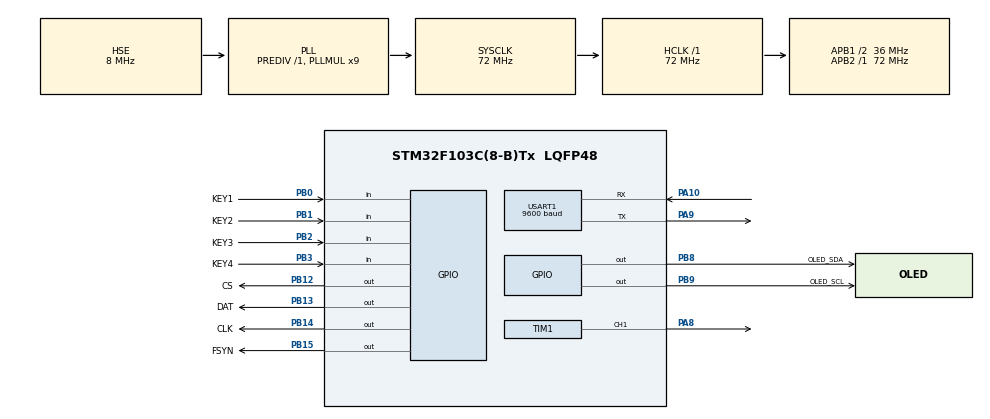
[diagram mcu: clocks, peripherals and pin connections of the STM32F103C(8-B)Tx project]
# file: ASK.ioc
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FREERTOS.Tasks01=usartTask,24,128,appusartTask,Default,NULL,Dynamic,NULL,NULL;keyTask,24,128,appkeyTask,Default,NULL,Dynamic,NULL,NULL;oledTask,24,128,appoledTask,Default,NULL,Dynamic,NULL,NULL
Mcu.Family=STM32F1
Mcu.Name=STM32F103C(8-B)Tx
Mcu.Package=LQFP48
NVIC.PriorityGroup=NVIC_PRIORITYGROUP_4
NVIC.TIM1_UP_IRQn=true\:5\:0\:false\:false\:true\:true\:true\:true\:true
NVIC.TIM4_IRQn=true\:0\:0\:true\:false\:true\:false\:true\:true\:true
NVIC.TimeBase=TIM4_IRQn
NVIC.TimeBaseIP=TIM4
PA10.GPIO_PuPd=GPIO_PULLDOWN
PA10.Mode=Asynchronous
PA10.Signal=USART1_RX
PA13.Mode=Serial_Wire
PA13.Signal=SYS_JTMS-SWDIO
PA14.Mode=Serial_Wire
PA14.Signal=SYS_JTCK-SWCLK
PA8.Signal=S_TIM1_CH1
PA9.Mode=Asynchronous
PA9.Signal=USART1_TX
PB0.GPIO_Label=KEY1
PB0.GPIO_PuPd=GPIO_PULLUP
PB0.Signal=GPIO_Input
PB1.GPIO_Label=KEY2
PB1.GPIO_PuPd=GPIO_PULLUP
PB1.Signal=GPIO_Input
PB12.GPIO_Label=CS
PB12.GPIO_PuPd=GPIO_PULLDOWN
PB12.GPIO_Speed=GPIO_SPEED_FREQ_HIGH
PB12.PinState=GPIO_PIN_RESET
PB12.Signal=GPIO_Output
PB13.GPIO_Label=DAT
PB13.GPIO_ModeDefaultOutputPP=GPIO_MODE_OUTPUT_PP
PB13.GPIO_PuPd=GPIO_PULLDOWN
PB13.GPIO_Speed=GPIO_SPEED_FREQ_HIGH
PB13.Signal=GPIO_Output
PB14.GPIO_Label=CLK
PB14.GPIO_PuPd=GPIO_PULLDOWN
PB14.GPIO_Speed=GPIO_SPEED_FREQ_HIGH
PB14.Signal=GPIO_Output
PB15.GPIO_Label=FSYN
PB15.GPIO_PuPd=GPIO_PULLDOWN
PB15.GPIO_Speed=GPIO_SPEED_FREQ_HIGH
PB15.Signal=GPIO_Output
PB2.GPIO_Label=KEY3
PB2.GPIO_PuPd=GPIO_PULLUP
PB2.Signal=GPIO_Input
PB3.GPIO_Label=KEY4
PB3.GPIO_PuPd=GPIO_PULLUP
PB3.Signal=GPIO_Input
PB8.GPIO_Label=OLED_SDA
PB8.GPIO_ModeDefaultOutputPP=GPIO_MODE_OUTPUT_OD
PB8.GPIO_PuPd=GPIO_PULLUP
PB8.GPIO_Speed=GPIO_SPEED_FREQ_HIGH
PB8.PinState=GPIO_PIN_RESET
PB8.Signal=GPIO_Output
PB9.GPIO_Label=OLED_SCL
PB9.GPIO_ModeDefaultOutputPP=GPIO_MODE_OUTPUT_OD
PB9.GPIO_PuPd=GPIO_PULLUP
PB9.GPIO_Speed=GPIO_SPEED_FREQ_HIGH
PB9.Signal=GPIO_Output
PD0-OSC_IN.Mode=HSE-External-Oscillator
PD0-OSC_IN.Signal=RCC_OSC_IN
PD1-OSC_OUT.Mode=HSE-External-Oscillator
PD1-OSC_OUT.Signal=RCC_OSC_OUT
ProjectManager.HeapSize=0x200
ProjectManager.StackSize=0x400
ProjectManager.TargetToolchain=MDK-ARM V5.32
RCC.AHBFreq_Value=72000000
RCC.APB1CLKDivider=RCC_HCLK_DIV2
RCC.APB1Freq_Value=36000000
RCC.APB1TimFreq_Value=72000000
RCC.APB2Freq_Value=72000000
RCC.APB2TimFreq_Value=72000000
RCC.HCLKFreq_Value=72000000
RCC.PLLMUL=RCC_PLL_MUL9
RCC.PLLSourceVirtual=RCC_PLLSOURCE_HSE
RCC.SYSCLKFreq_VALUE=72000000
RCC.SYSCLKSource=RCC_SYSCLKSOURCE_PLLCLK
RCC.USBFreq_Value=72000000
SH.S_TIM1_CH1.0=TIM1_CH1,PWM Generation1 CH1
TIM1.AutoReloadPreload=TIM_AUTORELOAD_PRELOAD_ENABLE
TIM1.Channel-PWM\ Generation1\ CH1=TIM_CHANNEL_1
TIM1.Period=1
TIM1.Prescaler=72-1
USART1.BaudRate=9600
USART1.VirtualMode=VM_ASYNC
VP_FREERTOS_VS_CMSIS_V2.Mode=CMSIS_V2
VP_SYS_VS_tim4.Mode=TIM4
VP_TIM1_VS_ClockSourceINT.Mode=Internal
board=custom

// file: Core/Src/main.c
/* USER CODE BEGIN Header */
/**
  ******************************************************************************
  * @file           : main.c
  * @brief          : Main program body
  ******************************************************************************
  * @attention
  *
  * Copyright (c) 2024 STMicroelectronics.
  * All rights reserved.
  *
  * This software is licensed under terms that can be found in the LICENSE file
  * in the root directory of this software component.
  * If no LICENSE file comes with this software, it is provided AS-IS.
  *
  ******************************************************************************
  */
/* USER CODE END Header */
#include "main.h"
#include "cmsis_os.h"
#include "tim.h"
#include "usart.h"
#include "gpio.h"

/* USER CODE BEGIN PTD */
char show_string[20];
/* USER CODE END PTD */

void SystemClock_Config(void);
void MX_FREERTOS_Init(void);

/* USER CODE BEGIN 0 */
void DWT_Init(void)
{
    CoreDebug->DEMCR |= CoreDebug_DEMCR_TRCENA_Msk; // 启用 DWT
    DWT->CYCCNT = 0;                                // 清零计数器
    DWT->CTRL |= DWT_CTRL_CYCCNTENA_Msk;            // 启用 CYCCNT
}

/* USER CODE END 0 */

int main(void)
{

  /* MCU Configuration--------------------------------------------------------*/

  /* Reset of all peripherals, Initializes the Flash interface and the Systick. */
  HAL_Init();

  /* Configure the system clock */
  SystemClock_Config();

  /* Initialize all configured peripherals */
  MX_GPIO_Init();
  MX_TIM1_Init();
  MX_USART1_UART_Init();
  /* USER CODE BEGIN 2 */
	DWT_Init();

	LFSR_Init(0xA9);
	/*******初始化OLED显示********/
	OLED_Init();
	OLED_ColorTurn(0);
	OLED_DisplayTurn(0);
	OLED_DisPlay_On();

	/***初始化正弦波***/
	AD9833_Init_GPIO();
	AD9833_WaveSeting(2000000,0,SIN_WAVE,0);
	MCP41010_SetResistance(22); //设置幅值，幅值最大 255

	/***初始化输出伪随机序列***/
	 // 启动 PWM 输出
	HAL_TIM_PWM_Start(&htim1, TIM_CHANNEL_1);
	// 开启定时器更新中断
	__HAL_TIM_ENABLE_IT(&htim1, TIM_IT_UPDATE);

  /* USER CODE END 2 */

  /* Init scheduler */
  osKernelInitialize();

  /* Call init function for freertos objects (in cmsis_os2.c) */
  MX_FREERTOS_Init();

  /* Start scheduler */
  osKernelStart();

  /* We should never get here as control is now taken by the scheduler */

  /* Infinite loop */
  while (1)
  {

  }
}

void SystemClock_Config(void)
{
  RCC_OscInitTypeDef RCC_OscInitStruct = {0};
  RCC_ClkInitTypeDef RCC_ClkInitStruct = {0};

  /** Initializes the RCC Oscillators according to the specified parameters
  * in the RCC_OscInitTypeDef structure.
  */
  RCC_OscInitStruct.OscillatorType = RCC_OSCILLATORTYPE_HSE;
  RCC_OscInitStruct.HSEState = RCC_HSE_ON;
  RCC_OscInitStruct.HSEPredivValue = RCC_HSE_PREDIV_DIV1;
  RCC_OscInitStruct.HSIState = RCC_HSI_ON;
  RCC_OscInitStruct.PLL.PLLState = RCC_PLL_ON;
  RCC_OscInitStruct.PLL.PLLSource = RCC_PLLSOURCE_HSE;
  RCC_OscInitStruct.PLL.PLLMUL = RCC_PLL_MUL9;
  if (HAL_RCC_OscConfig(&RCC_OscInitStruct) != HAL_OK)
  {
    Error_Handler();
  }

  /** Initializes the CPU, AHB and APB buses clocks
  */
  RCC_ClkInitStruct.ClockType = RCC_CLOCKTYPE_HCLK|RCC_CLOCKTYPE_SYSCLK
                              |RCC_CLOCKTYPE_PCLK1|RCC_CLOCKTYPE_PCLK2;
  RCC_ClkInitStruct.SYSCLKSource = RCC_SYSCLKSOURCE_PLLCLK;
  RCC_ClkInitStruct.AHBCLKDivider = RCC_SYSCLK_DIV1;
  RCC_ClkInitStruct.APB1CLKDivider = RCC_HCLK_DIV2;
  RCC_ClkInitStruct.APB2CLKDivider = RCC_HCLK_DIV1;

  if (HAL_RCC_ClockConfig(&RCC_ClkInitStruct, FLASH_LATENCY_2) != HAL_OK)
  {
    Error_Handler();
  }
}

void HAL_TIM_PeriodElapsedCallback(TIM_HandleTypeDef *htim)
{
  if (htim->Instance == TIM4) {
    HAL_IncTick();
  }
  /* USER CODE BEGIN Callback 1 */
 if (htim->Instance == TIM1)
	{
			// 计算 LFSR 输出
			uint8_t bit = LFSR_NextBit();

			// 根据比特值设置 PWM 占空比
			if (bit)
			{
					__HAL_TIM_SET_COMPARE(&htim1, TIM_CHANNEL_1, 1); // 设置高电平（100% 占空比）
			}
			else
			{
					__HAL_TIM_SET_COMPARE(&htim1, TIM_CHANNEL_1, 0); // 设置低电平（0% 占空比）
			}
	}
  /* USER CODE END Callback 1 */
}

void Error_Handler(void)
{
  __disable_irq();
  while (1)
  {
  }
}

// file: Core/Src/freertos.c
/* USER CODE BEGIN Header */
/**
  ******************************************************************************
  * File Name          : freertos.c
  * Description        : Code for freertos applications
  ******************************************************************************
  * @attention
  *
  * Copyright (c) 2024 STMicroelectronics.
  * All rights reserved.
  *
  * This software is licensed under terms that can be found in the LICENSE file
  * in the root directory of this software component.
  * If no LICENSE file comes with this software, it is provided AS-IS.
  *
  ******************************************************************************
  */
/* USER CODE END Header */

#include "FreeRTOS.h"
#include "task.h"
#include "main.h"
#include "cmsis_os.h"

/* USER CODE BEGIN PTD */
float VPP=500;
float Freq=2;
uint8_t Mode=0;
uint8_t pointer_pos=16;
uint16_t value=0;
float tempVPP;  // 临时保存的 VPP 值
double tempFreq; // 临时保存的 Freq 值
/* USER CODE END PTD */

/* USER CODE BEGIN PD */
void DWT_Delay_us(uint32_t us)
{
    uint32_t start = DWT->CYCCNT; // 获取当前计数值
    uint32_t ticks = us * (HAL_RCC_GetHCLKFreq() / 1000000);

    while ((DWT->CYCCNT - start) < ticks); // 等待指定时间
}

/* USER CODE END PD */

/* Definitions for usartTask */
osThreadId_t usartTaskHandle;
const osThreadAttr_t usartTask_attributes = {
  .name = "usartTask",
  .stack_size = 128 * 4,
  .priority = (osPriority_t) osPriorityNormal,
};
/* Definitions for keyTask */
osThreadId_t keyTaskHandle;
const osThreadAttr_t keyTask_attributes = {
  .name = "keyTask",
  .stack_size = 128 * 4,
  .priority = (osPriority_t) osPriorityNormal,
};
/* Definitions for oledTask */
osThreadId_t oledTaskHandle;
const osThreadAttr_t oledTask_attributes = {
  .name = "oledTask",
  .stack_size = 128 * 4,
  .priority = (osPriority_t) osPriorityNormal,
};

void appusartTask(void *argument);
void appkeyTask(void *argument);
void appoledTask(void *argument);

void MX_FREERTOS_Init(void); /* (MISRA C 2004 rule 8.1) */

void MX_FREERTOS_Init(void) {

  /* Create the thread(s) */
  /* creation of usartTask */
  usartTaskHandle = osThreadNew(appusartTask, NULL, &usartTask_attributes);

  /* creation of keyTask */
  keyTaskHandle = osThreadNew(appkeyTask, NULL, &keyTask_attributes);

  /* creation of oledTask */
  oledTaskHandle = osThreadNew(appoledTask, NULL, &oledTask_attributes);

}

void appusartTask(void *argument)
{
  /* USER CODE BEGIN appusartTask */
  uint8_t rx_buffer[1]; // 存储串口数据
  uint32_t bit_time_us = 104; // 假设波特率为 9600，每位持续时间约为 104 μs

  /* Infinite loop */
  for (;;)
  {
    // 直接读取串口数据
    if (HAL_UART_Receive(&huart1, rx_buffer, 1, 100) == HAL_OK)
    {
      uint8_t data = rx_buffer[0]; // 获取接收到的字节

      // 起始位：设置 0，占空比为 0%
      __HAL_TIM_SET_COMPARE(&htim1, TIM_CHANNEL_1, 0);
			DWT_Delay_us(bit_time_us); // 延时 1 位时间

      // 数据位：逐位发送
      for (int i = 0; i < 8; i++)
      {
        uint8_t bit = (data >> i) & 0x01; // 提取第 i 位
        if (bit)
        {
          // 发送逻辑 1：设置占空比为 100%
          __HAL_TIM_SET_COMPARE(&htim1, TIM_CHANNEL_1, (htim1.Init.Period + 1));
        }
        else
        {
          // 发送逻辑 0：设置占空比为 0%
          __HAL_TIM_SET_COMPARE(&htim1, TIM_CHANNEL_1, 0);
        }
        DWT_Delay_us(bit_time_us);  // 延时 1 位时间
      }

      // 停止位：设置 1，占空比为 100%
      __HAL_TIM_SET_COMPARE(&htim1, TIM_CHANNEL_1, (htim1.Init.Period + 1));
      DWT_Delay_us(bit_time_us);  // 延时 1 位时间
    }

    osDelay(10);
  }
  /* USER CODE END appusartTask */
}

void appkeyTask(void *argument)
{
  /* USER CODE BEGIN appkeyTask */

		tempVPP = VPP;   // 初始化临时值
		tempFreq = Freq; // 初始化临时值
  /* Infinite loop */
  for (;;)
  {
    // 调整临时值
    if (HAL_GPIO_ReadPin(GPIOB, GPIO_PIN_0) == 0)
    {
      // 增加值（修改临时值）
      if (pointer_pos / 16 == 1) // 调整 VPP
      {
        tempVPP += 100;
        if (tempVPP > 1200) tempVPP = 1200;
      }
      if (pointer_pos / 16 == 2) // 调整 Freq
      {
        tempFreq += 0.2;
        if (tempFreq > 4) tempFreq = 4;
      }
      vTaskDelay(pdMS_TO_TICKS(200)); // 防止按键抖动
    }

    if (HAL_GPIO_ReadPin(GPIOB, GPIO_PIN_1) == 0)
    {
      // 减少值（修改临时值）
      if (pointer_pos / 16 == 1) // 调整 VPP
      {
        tempVPP -= 100;
        if (tempVPP < 100) tempVPP = 100;
      }
      if (pointer_pos / 16 == 2) // 调整 Freq
      {
        tempFreq -= 0.2;
        if (tempFreq <= 1.0) tempFreq = 1.0;
      }
      vTaskDelay(pdMS_TO_TICKS(200)); // 防止按键抖动
    }

    // 确认修改
    if (HAL_GPIO_ReadPin(GPIOB, GPIO_PIN_2) == 0)
    {
      // 按下确认键，将临时值保存为实际值
      if (pointer_pos / 16 == 1) // 确认 VPP
      {
        VPP = tempVPP;
      }
      if (pointer_pos / 16 == 2) // 确认 Freq
      {
        Freq = tempFreq;

			}
      if (pointer_pos / 16 == 3) // 切换 Mode
			{
					Mode = (Mode == 0) ? 1 : 0;
					if (Mode == 1)
					{
							__HAL_TIM_DISABLE_IT(&htim1, TIM_IT_UPDATE);
							__HAL_TIM_SET_COMPARE(&htim1, TIM_CHANNEL_1, 0);
							vTaskResume(usartTaskHandle); // 恢复 appusartTask 任务
					}
					else
					{
							__HAL_TIM_ENABLE_IT(&htim1, TIM_IT_UPDATE);
							vTaskSuspend(usartTaskHandle); // 挂起 appusartTask 任务
					}
			}
			AD9833_WaveSeting(Freq*1000000,0,SIN_WAVE,0);
			MCP41010_SetResistance((uint8_t)(VPP/5000*255)); //设置幅值，幅值最大 255
      vTaskDelay(pdMS_TO_TICKS(200)); // 防止按键抖动
    }

    // 切换光标位置
    if (HAL_GPIO_ReadPin(GPIOB, GPIO_PIN_3) == 0)
    {
			tempVPP = VPP;
			tempFreq = Freq;
      pointer_pos += 16;
      if (pointer_pos == 64) pointer_pos = 16; // 循环切换
      vTaskDelay(pdMS_TO_TICKS(200)); // 防止按键抖动
    }

    vTaskDelay(pdMS_TO_TICKS(10)); // 延迟 10 毫秒
  }
  /* USER CODE END appkeyTask */
}

void appoledTask(void *argument)
{
  /* USER CODE BEGIN appoledTask */
  taskENTER_CRITICAL();
  char string[30];
  sprintf(string, "param");
  OLED_ShowString(0, 0, (u8 *)string, 16, 1);
	sprintf(string, "value");
  OLED_ShowString(48, 0, (u8 *)string, 16, 1);
  sprintf(string, "VPP");
  OLED_ShowString(0, 16, (u8 *)string, 16, 1);
  sprintf(string, "Freq");
  OLED_ShowString(0, 32, (u8 *)string, 16, 1);
  sprintf(string, "Mode");
  OLED_ShowString(0, 48, (u8 *)string, 16, 1);
	OLED_ShowString(100, 16, (u8 *)"<-", 16, 1);
  OLED_Refresh();
  taskEXIT_CRITICAL();

  /* Infinite loop */
  uint8_t prev_pointer_pos = 16; // 记录上一次的光标位置
  int16_t displayedVPP = -1;    // 当前显示的 VPP 值
  int32_t displayedFreq = -1;   // 当前显示的 Freq 值
  uint8_t displayedMode = 255; // 当前显示的 Mode

  for (;;)
  {
    taskENTER_CRITICAL();

    // 实时显示 VPP 值
    if (tempVPP != displayedVPP)
    {
      sprintf(string, "%.0fmV ", tempVPP); // 添加空格清除残影
      OLED_ShowString(48, 16, (u8 *)string, 16, 1);
      displayedVPP = tempVPP; // 更新显示的值
    }

    // 实时显示 Freq 值
    if (tempFreq != displayedFreq)
    {

			if(tempFreq < 1.2)
			{
				sprintf(string, "1.0MHz"); // 添加空格清除残影
			}
			else
			{
				sprintf(string, "%.1fMHz", tempFreq); // 添加空格清除残影
			}
      OLED_ShowString(48, 32, (u8 *)string, 16, 1);
      displayedFreq = tempFreq; // 更新显示的值
    }

    // 实时显示 Mode 值
    if (Mode != displayedMode)
    {
      if (Mode == 0)
      {
        sprintf(string, "Random");
      }
      else
      {
        sprintf(string, "Usart ");
      }
      OLED_ShowString(48, 48, (u8 *)string, 16, 1);
      displayedMode = Mode; // 更新显示的 Mode
    }

    // 显示当前光标
    if (prev_pointer_pos != pointer_pos)
    {
      // 清除旧的光标位置
      OLED_ShowString(100, prev_pointer_pos, (u8 *)"   ", 16, 1);
      // 显示新光标位置
      OLED_ShowString(100, pointer_pos, (u8 *)"<-", 16, 1);
      prev_pointer_pos = pointer_pos;
    }

    // 刷新 OLED 显示
    OLED_Refresh();

    taskEXIT_CRITICAL();

    vTaskDelay(pdMS_TO_TICKS(50)); // 延迟 50 毫秒
  }
  /* USER CODE END appoledTask */
}
